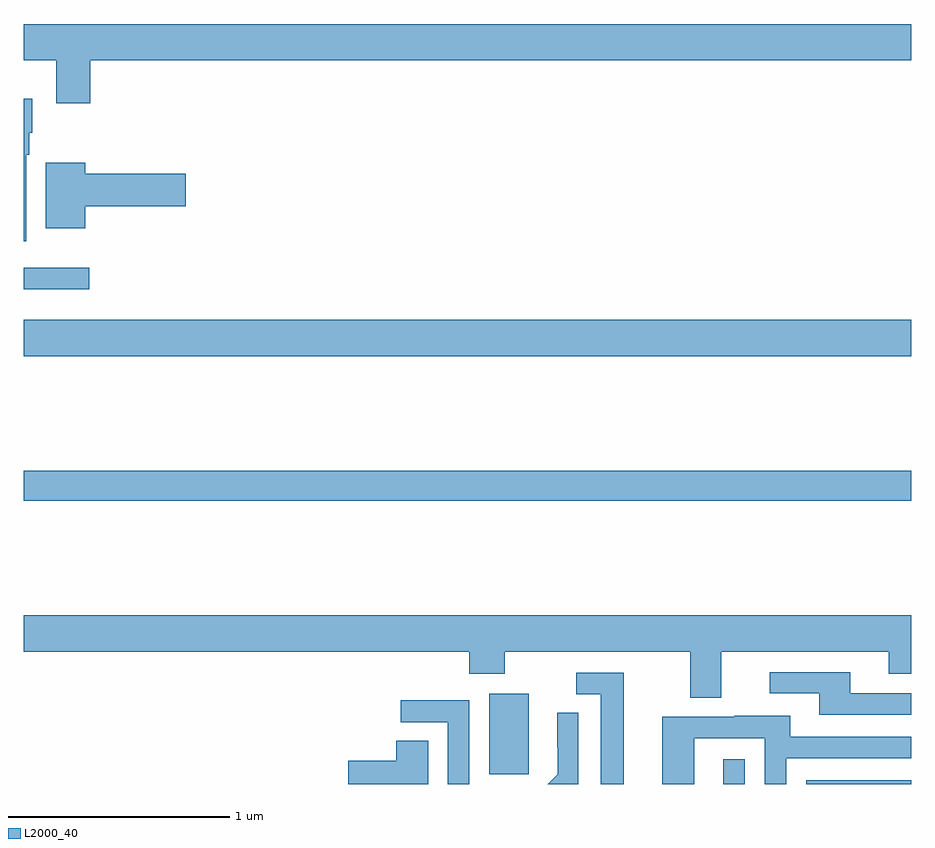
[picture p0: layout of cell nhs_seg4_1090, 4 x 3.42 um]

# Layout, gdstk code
import gdstk
lib = gdstk.Library(unit=1e-6, precision=1e-09)
def R(c, l, rs):  # rectangles x0, y0, x1, y1
    for r in rs: c.add(gdstk.rectangle(r[:2], r[2:], *l))
def P(c, l, *ps):  # polygons
    for p in ps: c.add(gdstk.Polygon(p, *l))
L2000_40 = (2000, 40)

nhs_seg4_1090 = lib.new_cell('nhs_seg4_1090')
R(nhs_seg4_1090, L2000_40, [(170.153,786.9,170.25,787.012), (170.526,786.9,171,786.918), (169.097,786.945,169.276,787.306), (167,788.176,171,788.312), (167,788.828,171,788.992), (167,789.128,167.296,789.225)])
P(nhs_seg4_1090, L2000_40, [(167.3,790.16),(171,790.16),(171,790.324),(167,790.324),(167,790.16),(167.147,790.16),(167.147,789.966),(167.3,789.966)],
  [(167.011,789.734),(167.026,789.734),(167.026,789.834),(167.038,789.834),(167.038,789.988),(167,789.988),(167,789.345),(167.011,789.345)],
  [(167.278,789.503),(167.731,789.503),(167.731,789.65),(167.278,789.65),(167.278,789.7),(167.099,789.7),(167.099,789.404),(167.278,789.404)],
  [(170.143,787.496),(170.897,787.496),(170.897,787.397),(171,787.397),(171,787.66),(167,787.66),(167,787.496),(169.007,787.496),(169.007,787.397),(169.167,787.397),(169.167,787.496),(170.003,787.496),(170.003,787.288),(170.143,787.288)],
  [(171,787.308),(170.725,787.308),(170.725,787.404),(170.361,787.404),(170.361,787.308),(170.585,787.308),(170.585,787.212),(171,787.212)],
  [(169.705,787.401),(169.491,787.401),(169.491,787.305),(169.601,787.305),(169.601,786.9),(169.705,786.9)],
  [(169.008,787.278),(168.699,787.278),(168.699,787.179),(168.912,787.179),(168.912,786.9),(169.008,786.9)],
  [(169.5,786.902),(169.5,787.22),(169.404,787.22),(169.404,787.066),(169.406,787.066),(169.406,786.944),(169.362,786.9),(169.498,786.9)],
  [(170.022,787.107),(170.34,787.107),(170.34,786.9),(170.436,786.9),(170.436,787.017),(171,787.017),(171,787.113),(170.455,787.113),(170.455,787.207),(170.201,787.207),(170.201,787.203),(169.877,787.203),(169.877,786.9),(170.022,786.9)],
  [(168.823,787.094),(168.68,787.094),(168.68,787.004),(168.462,787.004),(168.462,786.9),(168.823,786.9)])

lib.write_gds('nhs_seg4_1090.gds')
